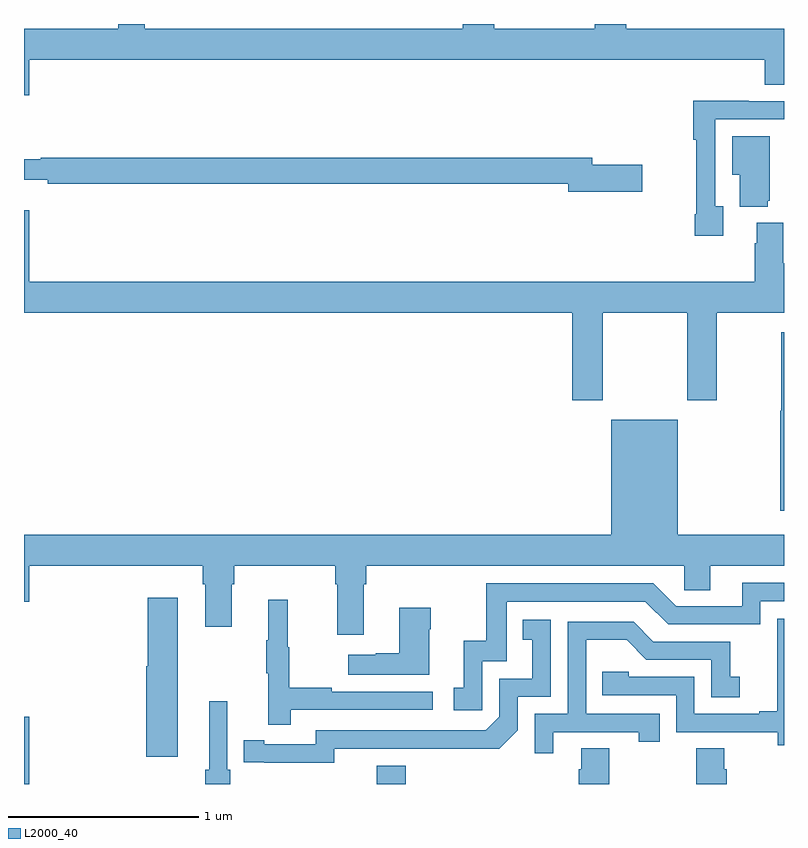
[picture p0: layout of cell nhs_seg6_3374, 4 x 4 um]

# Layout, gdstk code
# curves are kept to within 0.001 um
import gdstk
lib = gdstk.Library(unit=1e-6, precision=1e-09)
def R(c, l, rs):  # rectangles x0, y0, x1, y1
    for r in rs: c.add(gdstk.rectangle(r[:2], r[2:], *l))
def P(c, l, *ps):  # polygons
    for p in ps: c.add(gdstk.Polygon(p, *l))
L2000_40 = (2000, 40)

nhs_seg6_3374 = lib.new_cell('nhs_seg6_3374')
R(nhs_seg6_3374, L2000_40, [(309,967.5,309.028,967.855), (310.856,967.5,311.009,967.597)])
P(nhs_seg6_3374, L2000_40, [(312.899,971.179),(313,971.179),(313,971.476),(312.17,971.476),(312.17,971.5),(312.005,971.5),(312.005,971.476),(311.474,971.476),(311.474,971.5),(311.309,971.5),(311.309,971.476),(309.636,971.476),(309.636,971.5),(309.497,971.5),(309.497,971.476),(309,971.476),(309,971.124),(309.028,971.124),(309.028,971.312),(312.899,971.312)],
  [(312.679,970.542),(312.639,970.542),(312.639,970.998),(313,970.998),(313,971.094),(312.815,971.094),(312.815,971.096),(312.523,971.096),(312.523,970.891),(312.538,970.891),(312.538,970.498),(312.531,970.498),(312.531,970.386),(312.679,970.386)],
  [(312.914,970.569),(312.925,970.569),(312.925,970.909),(312.728,970.909),(312.728,970.706),(312.767,970.706),(312.767,970.538),(312.914,970.538)],
  [(312.253,970.76),(311.992,970.76),(311.992,970.796),(309.088,970.796),(309.088,970.789),(309,970.789),(309,970.679),(309.124,970.679),(309.124,970.66),(311.864,970.66),(311.864,970.618),(312.253,970.618)],
  [(309.028,970.519),(309,970.519),(309,969.98),(311.885,969.98),(311.885,969.519),(312.045,969.519),(312.045,969.98),(312.49,969.98),(312.49,969.519),(312.645,969.519),(312.645,969.98),(313,969.98),(313,970.24),(312.997,970.24),(312.997,970.453),(312.857,970.453),(312.857,970.346),(312.845,970.346),(312.845,970.144),(309.028,970.144)],
  [(313,969.877),(312.985,969.877),(312.985,969.464),(312.98,969.464),(312.98,968.937),(313,968.937)],
  [(310.789,968.552),(310.802,968.552),(310.802,968.648),(312.474,968.648),(312.474,968.521),(312.613,968.521),(312.613,968.648),(313,968.648),(313,968.812),(312.442,968.812),(312.442,969.418),(312.092,969.418),(312.092,968.812),(309,968.812),(309,968.46),(309.028,968.46),(309.028,968.648),(309.941,968.648),(309.941,968.552),(309.953,968.552),(309.953,968.328),(310.093,968.328),(310.093,968.552),(310.106,968.552),(310.106,968.648),(310.637,968.648),(310.637,968.552),(310.649,968.552),(310.649,968.286),(310.789,968.286)],
  [(311.412,968.145),(311.541,968.145),(311.541,968.46),(312.27,968.46),(312.39,968.34),(312.876,968.34),(312.876,968.463),(313,968.463),(313,968.559),(312.779,968.559),(312.779,968.436),(312.432,968.436),(312.312,968.556),(311.433,968.556),(311.433,968.254),(311.315,968.254),(311.315,968.007),(311.262,968.007),(311.262,967.887),(311.412,967.887)],
  [(309.808,968.479),(309.65,968.479),(309.65,968.121),(309.644,968.121),(309.644,967.644),(309.808,967.644)],
  [(310.403,967.89),(311.152,967.89),(311.152,967.986),(310.619,967.986),(310.619,968.006),(310.396,968.006),(310.396,968.22),(310.388,968.22),(310.388,968.47),(310.286,968.47),(310.286,968.257),(310.275,968.257),(310.275,968.083),(310.286,968.083),(310.286,967.812),(310.403,967.812)],
  [(311.134,968.315),(311.142,968.315),(311.142,968.428),(310.976,968.428),(310.976,968.189),(310.85,968.189),(310.85,968.179),(310.707,968.179),(310.707,968.075),(311.134,968.075)],
  [(313,968.371),(312.964,968.371),(312.964,968.165),(312.965,968.165),(312.965,967.882),(312.869,967.882),(312.869,967.869),(312.528,967.869),(312.528,968.064),(312.183,968.064),(312.183,968.091),(312.043,968.091),(312.043,967.968),(312.432,967.968),(312.432,967.773),(312.966,967.773),(312.966,967.705),(313,967.705)],
  [(310.632,967.686),(311.5,967.685),(311.598,967.782),(311.598,967.959),(311.772,967.959),(311.772,968.365),(311.626,968.365),(311.626,968.259),(311.675,968.259),(311.675,968.055),(311.502,968.055),(311.502,967.854),(311.43,967.782),(310.536,967.782),(310.536,967.71),(310.264,967.71),(310.264,967.73),(310.156,967.73),(310.156,967.614),(310.632,967.613)],
  [(311.785,967.773),(312.236,967.773),(312.236,967.722),(312.347,967.722),(312.347,967.869),(311.958,967.869),(311.958,968.258),(312.172,968.258),(312.276,968.154),(312.618,968.154),(312.618,967.956),(312.766,967.956),(312.766,968.065),(312.717,968.065),(312.717,968.25),(312.313,968.25),(312.208,968.355),(311.862,968.355),(311.862,967.869),(311.688,967.869),(311.688,967.662),(311.785,967.662)],
  [(310.085,967.576),(310.071,967.576),(310.071,967.936),(309.974,967.936),(309.974,967.576),(309.955,967.576),(309.955,967.5),(310.085,967.5)],
  [(312.698,967.578),(312.685,967.578),(312.685,967.688),(312.538,967.688),(312.538,967.5),(312.698,967.5)],
  [(312.081,967.688),(311.933,967.688),(311.933,967.578),(311.921,967.578),(311.921,967.5),(312.081,967.5)])

lib.write_gds('nhs_seg6_3374.gds')
